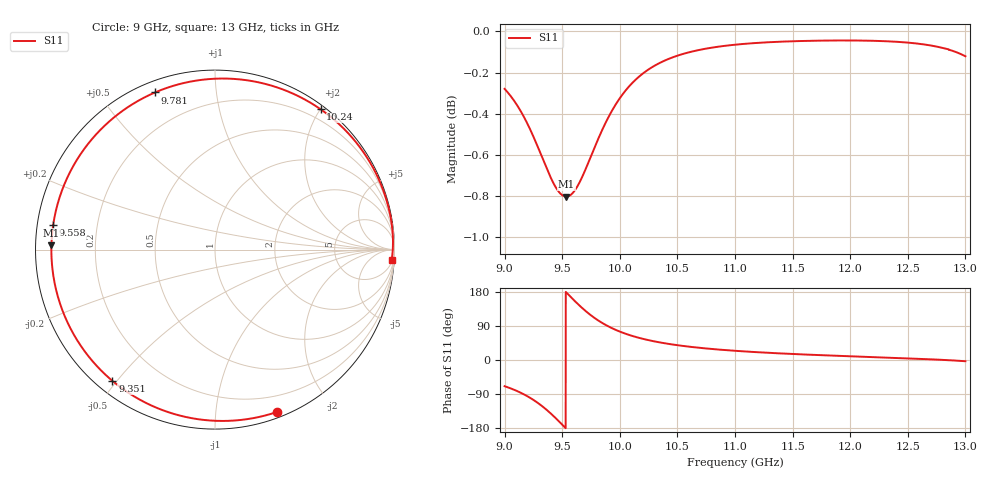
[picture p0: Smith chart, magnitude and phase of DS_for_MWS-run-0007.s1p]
! TOUCHSTONE file generated by CST DESIGN STUDIO
! Date and time: Tue Feb  4 17:54:11 2025
! Project name: C:\Work\MatlabApps\UnitCellOptimizationMatlab\CST\unitcell.cst
! Tree item: Tasks\Sweep1\SPara1\S-Parameters
! Header version: 2024
! Port assignment regex: !\s*Touchstone port\s*([0-9]+)\s*=\s*(CST MWS port|CST DES external port|CST DES block port)\s*(.+)\s* \(\"(.*)\"\)(\s*mode\s*([0-9]+))?.*
! Touchstone port assignment:
! Touchstone port 1 = CST DES external port 1 ("")
# GHz S MA R 50
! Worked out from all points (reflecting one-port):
!   4001 points, 9 GHz to 13 GHz, reference 50 ohm
!   lowest |S11| = -0.8 dB at 9.535 GHz (marker M1), VSWR 21.65, Z = 2.31 + j0.668 ohm
!   phase of S11 starts at -69 deg and turns -294 deg over the sweep
!   S11 on the Smith chart (normalised r, x): 9 GHz: 0.05, -1.45; 9.351 GHz: 0.05, -0.49; 9.558 GHz: 0.05, +0.08; 9.781 GHz: 0.05, +0.69; 10.24 GHz: 0.05, +2.00; 13 GHz: 8, -33
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9  0.9684 -69.1
9.099  0.9604 -80.7
9.208  0.9484 -97.4
9.283  0.9382 -112.1
9.351  0.9282 -128.0
9.392  0.9225 -138.8
9.433  0.9176 -150.4
9.467  0.9144 -160.5
9.5  0.9125 -170.6
9.535  0.9117 178.5
9.558  0.912 171.3
9.612  0.9151 154.8
9.673  0.9217 137.3
9.726  0.9291 123.5
9.781  0.9371 110.9
9.827  0.9436 101.5
9.877  0.9502 92.6
10  0.9633 75.0
10.113  0.9719 63.1
10.24  0.9786 53.0
10.361  0.983 45.6
10.5  0.9865 39.1
10.721  0.9901 31.3
11  0.9926 24.3
11.5  0.9945 15.9
12  0.995 9.8
12.5  0.9938 4.3
13  0.9862 -3.2
